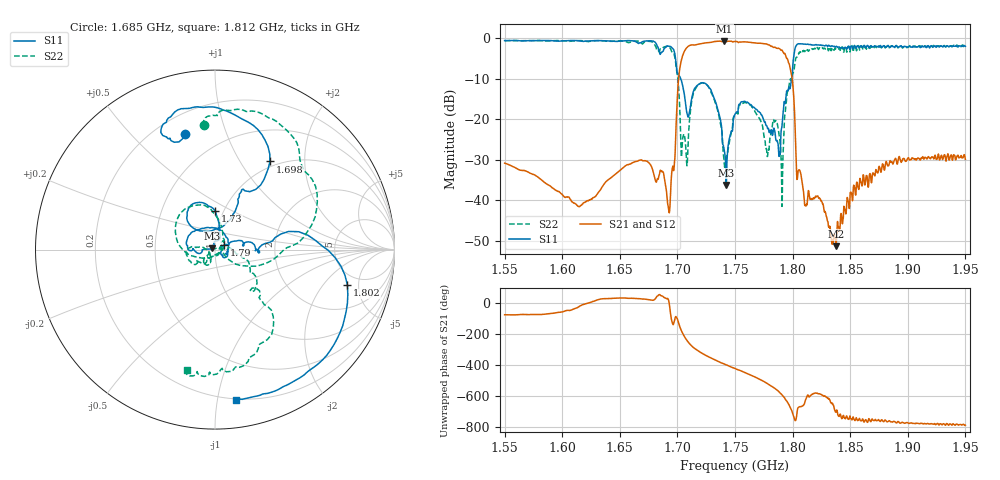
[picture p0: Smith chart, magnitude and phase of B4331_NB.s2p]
! Matrix data file written by TouchstoneData, EPCOS AG
! FILENAME: "B4331_01_NB.snp"
! COMMENT: "xxxx"
! INFO: nport=2, nfreq=1601
! DATE: "Wed Dec 18 10:35:10 2013"
! USER: "Dan Wang"
! port | pin | signal
!  1  |  1  |  input
!  2  |  4  |  output
# MHZ S RI R 50
! freq  reS11 imS11  reS21 imS21  reS12 imS12  reS22 imS22
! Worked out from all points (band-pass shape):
!   1601 points, 1.55 GHz to 1.95 GHz, reference 50 ohm
!   highest |S21| = -0.69 dB at 1.741 GHz (marker M1); lowest = -51.4 dB at 1.838 GHz (marker M2)
!   |S21| within 3 dB of the highest: 1.705 GHz to 1.792 GHz (87 MHz wide, 4.98 % of centre)
!   lowest |S11| = -36.2 dB at 1.742 GHz (marker M3), VSWR 1.03, Z = 48.6 + j0.639 ohm
!   |S11| at or under -10 dB: 1.703 GHz to 1.799 GHz (96.34 MHz wide, 5.5 % of centre)
!   |S22| runs from -41.5 to -0.5 dB; largest |S21 - S12| = 0
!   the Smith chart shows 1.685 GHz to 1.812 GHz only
!   S11 on the Smith chart (normalised r, x): 1.685 GHz: 0.31, +0.73; 1.698 GHz: 0.92, +1.36; 1.73 GHz: 0.91, +0.41; 1.79 GHz: 1.11, +0.06; 1.802 GHz: 3.84, -3.67; 1.812 GHz: 0.19, -1.13
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1550  -0.9347 -0.0847  0.00822 -0.0275  0.00822 -0.0275  -0.9283 0.1022
1616.75  -0.8919 0.2363  0.00852 -0.00171  0.00852 -0.00171  -0.8341 0.425
1683.5  -0.1772 0.7229  0.0109 0.015  0.0109 0.015  -0.0157 0.7019
1684.5  -0.1668 0.6458  0.0114 0.0179  0.0114 0.0179  -0.0591 0.6915
1692.5  -0.1148 0.7939  0.0072 0.00196  0.0072 0.00196  0.345 0.713
1698.25  0.306 0.4912  0.000825 -0.0476  0.000825 -0.0476  0.5169 0.1035
1707.25  0.0571 0.1416  -0.4876 0.5552  -0.4876 0.5552  0.0447 0.00847
1715.5  -0.1548 0.1899  0.3493 0.7519  0.3493 0.7519  -0.2189 0.087
1730  0.00127 0.2141  0.8964 0.0509  0.8964 0.0509  -0.00759 0.2051
1740.75  -0.00478 0.0405  0.7693 -0.5118  0.7693 -0.5118  0.0259 0.00966
1742.5  -0.014 0.00657  0.7056 -0.5658  0.7056 -0.5658  0.0168 -0.0304
1750  -0.1155 -0.00395  0.4269 -0.8091  0.4269 -0.8091  -0.0925 -0.0666
1776.75  0.0723 0.0451  -0.7635 -0.3826  -0.7635 -0.3826  -0.0441 -0.00422
1784.75  0.051 -0.0456  -0.7611 0.1603  -0.7611 0.1603  -0.0549 -0.0767
1789.75  0.0528 0.0278  -0.5049 0.5058  -0.5049 0.5058  -0.0354 -0.0219
1798.5  0.2768 0.0332  0.3027 0.2322  0.3027 0.2322  0.2067 -0.2355
1802.25  0.7379 -0.1988  0.0563 -0.0473  0.0563 -0.0473  0.3266 -0.4036
1812.25  0.1178 -0.8362  -0.00311 0.00846  -0.00311 0.00846  -0.1572 -0.6721
1816.75  -0.0756 -0.8282  -0.00638 0.00792  -0.00638 0.00792  -0.2933 -0.6812
1837.75  -0.4764 -0.6358  0.00261 0.000717  0.00261 0.000717  -0.5702 -0.4528
1883.5  -0.7061 -0.3622  0.0198 -0.018  0.0198 -0.018  -0.7534 -0.2067
1950  -0.7789 -0.1693  0.0111 -0.0299  0.0111 -0.0299  -0.8233 -0.0245
